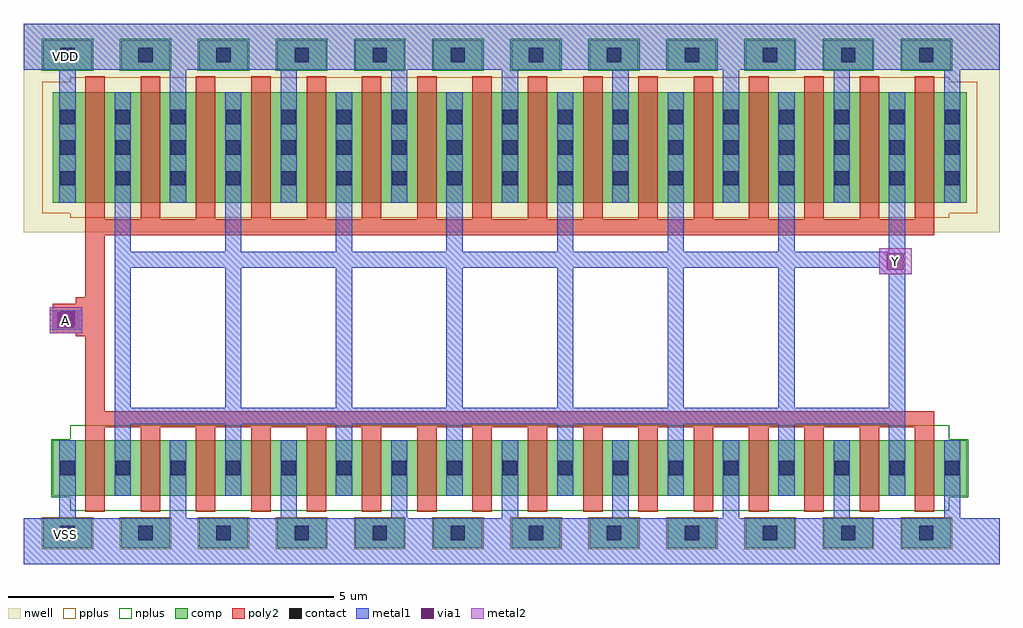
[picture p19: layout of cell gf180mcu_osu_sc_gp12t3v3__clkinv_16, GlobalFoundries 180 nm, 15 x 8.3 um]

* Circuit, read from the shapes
.subckt gf180mcu_osu_sc_gp12t3v3__clkinv_16 A VDD VSS Y
XM1 Y A VSS VSS nfet_03v3 w=0.85u l=0.3u m=16
XM2 Y A VDD VDD pfet_03v3 w=1.7u l=0.3u m=16
.ends

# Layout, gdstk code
import gdstk
lib = gdstk.Library(unit=1e-6, precision=1e-09)
def R(c, l, rs):  # rectangles x0, y0, x1, y1
    for r in rs: c.add(gdstk.rectangle(r[:2], r[2:], *l))
def A(c, l, x, y, w, h, nx, ny, dx, dy):  # array of equal rectangles
    R(c, l, [(x+i*dx, y+j*dy, x+i*dx+w, y+j*dy+h) for i in range(nx) for j in range(ny)])
nwell = (21, 0)
comp = (22, 0)
poly2 = (30, 0)
pplus = (31, 0)
nplus = (32, 0)
contact = (33, 0)
metal1 = (34, 0)
via1 = (35, 0)
metal2 = (36, 0)

gf180mcu_osu_sc_gp12t3v3 = lib.new_cell('gf180mcu_osu_sc_gp12t3v3__clkinv_16')
R(gf180mcu_osu_sc_gp12t3v3, nwell, [(0,5.1,15,8.3)])
A(gf180mcu_osu_sc_gp12t3v3, comp, 0.3, 0.25, 0.75, 0.45, 12, 2, 1.2, 7.35)
R(gf180mcu_osu_sc_gp12t3v3, comp, [(0.45,1.05,14.5,1.9), (0.45,5.55,14.5,7.25)])
A(gf180mcu_osu_sc_gp12t3v3, poly2, 0.95, 0.8, 0.3, 1.3, 16, 1, 0.85, 0)
A(gf180mcu_osu_sc_gp12t3v3, poly2, 0.95, 5.3, 0.3, 2.2, 16, 1, 0.85, 0)
R(gf180mcu_osu_sc_gp12t3v3, poly2, [(0.95,2.1,14,2.35), (0.95,2.35,1.25,3.5), (0.8,3.5,1.25,3.55), (0.45,3.55,1.25,4), (0.8,4,1.25,4.1), (0.95,4.1,1.25,5.05), (0.95,5.05,14,5.3)])
A(gf180mcu_osu_sc_gp12t3v3, pplus, 0.28, 0.23, 0.79, 0.49, 12, 1, 1.2, 0)
R(gf180mcu_osu_sc_gp12t3v3, pplus, [(0.72,5.32,14.23,5.39), (0.29,5.39,14.66,7.41), (0.72,7.41,14.23,7.48)])
A(gf180mcu_osu_sc_gp12t3v3, nplus, 0.28, 7.58, 0.79, 0.49, 12, 1, 1.2, 0)
R(gf180mcu_osu_sc_gp12t3v3, nplus, [(0.72,0.82,14.23,1.03), (0.43,1.03,14.52,1.92), (0.72,1.92,14.23,2.13)])
A(gf180mcu_osu_sc_gp12t3v3, contact, 0.565, 0.365, 0.22, 0.22, 12, 2, 1.2, 7.35)
A(gf180mcu_osu_sc_gp12t3v3, contact, 0.565, 1.365, 0.22, 0.22, 17, 2, 0.85, 4.455)
A(gf180mcu_osu_sc_gp12t3v3, contact, 0.565, 6.29, 0.22, 0.22, 17, 2, 0.85, 0.47)
R(gf180mcu_osu_sc_gp12t3v3, contact, [(0.565,3.665,0.785,3.885)])
A(gf180mcu_osu_sc_gp12t3v3, metal1, 0.55, 0.7, 0.25, 1.2, 9, 1, 1.7, 0)
A(gf180mcu_osu_sc_gp12t3v3, metal1, 1.4, 1.05, 0.25, 1.1, 8, 1, 1.7, 0)
A(gf180mcu_osu_sc_gp12t3v3, metal1, 1.4, 2.4, 0.25, 2.15, 7, 1, 1.7, 0)
A(gf180mcu_osu_sc_gp12t3v3, metal1, 1.4, 4.8, 0.25, 2.45, 8, 1, 1.7, 0)
A(gf180mcu_osu_sc_gp12t3v3, metal1, 0.55, 5.55, 0.25, 2.05, 9, 1, 1.7, 0)
R(gf180mcu_osu_sc_gp12t3v3, metal1, [(0,0,15,0.7), (1.4,2.15,13.55,2.4), (13.3,2.4,13.55,4.45), (0.4,3.6,0.9,3.9), (13.15,4.45,13.55,4.55), (1.4,4.55,13.55,4.8), (0,7.6,15,8.3)])
R(gf180mcu_osu_sc_gp12t3v3, via1, [(0.52,3.62,0.78,3.88), (13.27,4.52,13.53,4.78)])
R(gf180mcu_osu_sc_gp12t3v3, metal2, [(0.4,3.55,0.9,3.95), (13.15,4.45,13.65,4.85)])
gf180mcu_osu_sc_gp12t3v3.add(gdstk.Label('A', (0.65,3.75), layer=36, texttype=10))
gf180mcu_osu_sc_gp12t3v3.add(gdstk.Label('Y', (13.4,4.65), layer=36, texttype=10))
gf180mcu_osu_sc_gp12t3v3.add(gdstk.Label('VDD', (0.65,7.8), layer=34, texttype=10))
gf180mcu_osu_sc_gp12t3v3.add(gdstk.Label('VSS', (0.65,0.45), layer=34, texttype=10))

lib.write_gds('gf180mcu_osu_sc_gp12t3v3__clkinv_16.gds')
